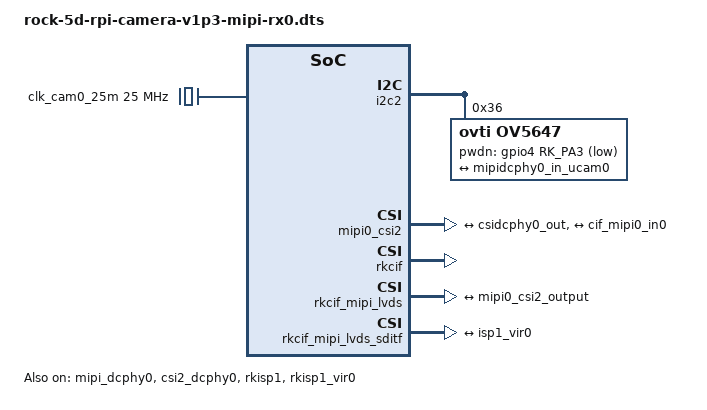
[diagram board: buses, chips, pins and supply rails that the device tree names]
/dts-v1/;
/plugin/;

#include <dt-bindings/gpio/gpio.h>
#include <dt-bindings/pinctrl/rockchip.h>

/ {
	metadata {
		title ="Enable Raspberry Pi Camera v1.3 on the MIPI-RX0 connector";
		compatible = "radxa,rock-5d";
		category = "camera";
		exclusive = "csi2_dcphy0";
		description = "Enable Raspberry Pi Camera v1.3 on the MIPI-RX0 connector.";
	};
};

&{/} {
	clk_cam0_25m: external-camera-clock-25m {
		compatible = "fixed-clock";
		clock-frequency = <25000000>;
		clock-output-names = "clk_cam0_25m";
		#clock-cells = <0>;
	};
};

&i2c2 {
	status = "okay";

	ov5647: ov5647@36 {
		status = "okay";
		compatible = "ovti,ov5647";
		reg = <0x36>;
		clocks = <&clk_cam0_25m>;
		pwdn-gpios = <&gpio4 RK_PA3 GPIO_ACTIVE_LOW>;
		clock-names = "ext_cam_clk";
		rockchip,camera-module-index = <1>;
		rockchip,camera-module-facing = "front";
		rockchip,camera-module-name = "rpi-camera-v1p3";
		rockchip,camera-module-lens-name = "default";

		port {
			ov5647_out0: endpoint {
				remote-endpoint = <&mipidcphy0_in_ucam0>;
				data-lanes = <1 2>;
			};
		};
	};
};

&mipi_dcphy0 {
	status = "okay";
};

&csi2_dcphy0 {
	status = "okay";

	ports {
		#address-cells = <1>;
		#size-cells = <0>;

		port@0 {
			reg = <0>;
			#address-cells = <1>;
			#size-cells = <0>;

			mipidcphy0_in_ucam0: endpoint@2 {
				reg = <2>;
				remote-endpoint = <&ov5647_out0>;
				data-lanes = <1 2>;
			};
		};

		port@1 {
			reg = <1>;
			#address-cells = <1>;
			#size-cells = <0>;

			csidcphy0_out: endpoint@0 {
				reg = <0>;
				remote-endpoint = <&mipi0_csi2_input>;
			};
		};
	};
};

&mipi0_csi2 {
	status = "okay";

	ports {
		#address-cells = <1>;
		#size-cells = <0>;

		port@0 {
			reg = <0>;
			#address-cells = <1>;
			#size-cells = <0>;

			mipi0_csi2_input: endpoint@1 {
				reg = <1>;
				remote-endpoint = <&csidcphy0_out>;
			};
		};

		port@1 {
			reg = <1>;
			#address-cells = <1>;
			#size-cells = <0>;

			mipi0_csi2_output: endpoint@0 {
				reg = <0>;
				remote-endpoint = <&cif_mipi0_in0>;
			};
		};
	};
};

&rkcif {
	status = "okay";
};

&rkcif_mipi_lvds {
	status = "okay";

	port {
		cif_mipi0_in0: endpoint {
			remote-endpoint = <&mipi0_csi2_output>;
		};
	};
};

&rkcif_mipi_lvds_sditf {
	status = "okay";

	port {
		mipi_lvds_sditf: endpoint {
			remote-endpoint = <&isp1_vir0>;
		};
	};
};

&rkcif_mmu {
	status = "okay";
};

&isp1_mmu {
	status = "okay";
};

&rkisp1 {
	status = "okay";
};

&rkisp1_vir0 {
	status = "okay";

	port {
		#address-cells = <1>;
		#size-cells = <0>;

		isp1_vir0: endpoint@0 {
			reg = <0>;
			remote-endpoint = <&mipi_lvds_sditf>;
		};
	};
};
